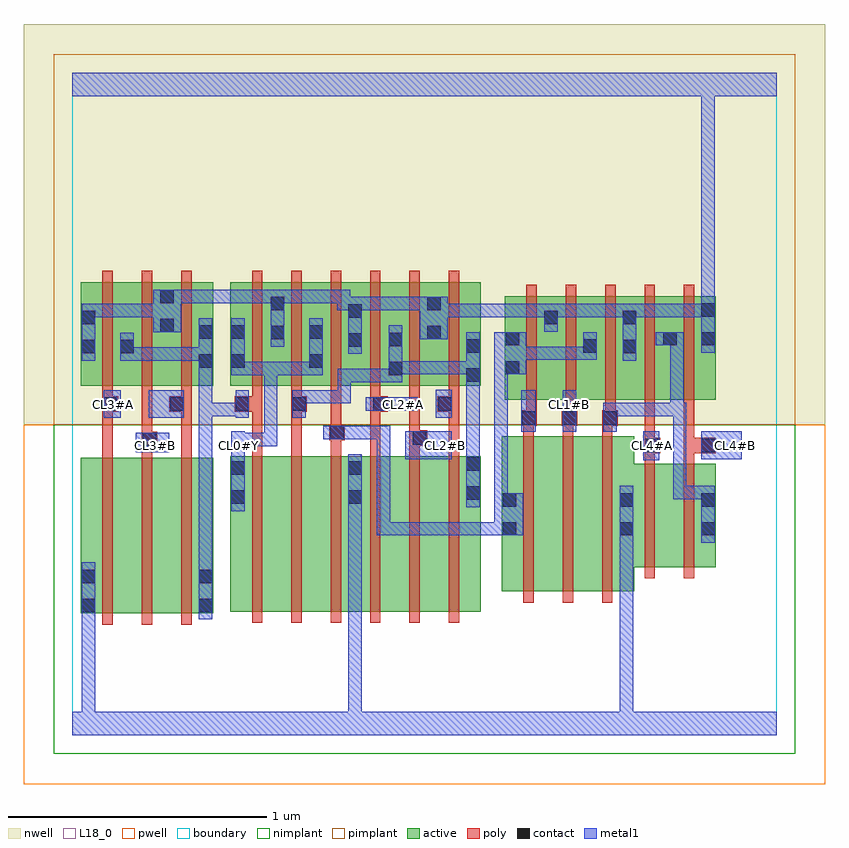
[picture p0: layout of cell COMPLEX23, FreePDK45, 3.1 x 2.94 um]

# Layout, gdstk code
import gdstk
lib = gdstk.Library(unit=1e-6, precision=1e-09)
def R(c, l, rs):  # rectangles x0, y0, x1, y1
    for r in rs: c.add(gdstk.rectangle(r[:2], r[2:], *l))
def A(c, l, x, y, w, h, nx, ny, dx, dy):  # array of equal rectangles
    R(c, l, [(x+i*dx, y+j*dy, x+i*dx+w, y+j*dy+h) for i in range(nx) for j in range(ny)])
active = (1, 0)
pwell = (2, 0)
nwell = (3, 0)
nimplant = (4, 0)
pimplant = (5, 0)
poly = (9, 0)
contact = (10, 0)
metal1 = (11, 0)
L18_0 = (18, 0)
boundary = (235, 0)

complex23 = lib.new_cell('COMPLEX23')
R(complex23, active, [(0.032,0.472,0.212,1.072), (0.032,0.472,0.092,1.072), (0.212,0.472,0.364,1.072), (0.364,0.472,0.544,1.072), (0.484,0.472,0.544,1.072), (0.61,0.478,0.79,1.078), (0.79,0.478,0.942,1.078), (0.942,0.478,1.122,1.078), (1.062,0.478,1.246,1.078), (1.246,0.478,1.398,1.078), (1.398,0.478,1.578,1.078), (0.61,0.556,0.67,1.078), (1.062,0.556,1.122,1.078), (1.518,0.556,1.578,1.078), (1.658,0.556,1.838,1.156), (1.658,0.556,1.718,1.156), (1.838,0.556,1.99,1.156), (1.99,0.556,2.17,1.156), (2.11,0.65,2.306,1.05), (2.306,0.65,2.486,1.05), (2.11,0.756,2.17,1.05), (2.426,0.756,2.486,1.05), (1.67,1.296,1.878,1.696), (1.67,1.296,1.73,1.644), (1.818,1.296,2.03,1.696), (1.97,1.296,2.182,1.696), (2.122,1.296,2.338,1.696), (2.278,1.296,2.486,1.696), (2.426,1.296,2.486,1.696), (0.032,1.35,0.092,1.75), (0.032,1.35,0.24,1.75), (0.18,1.35,0.24,1.644), (0.18,1.35,0.396,1.75), (0.336,1.35,0.544,1.75), (0.484,1.35,0.544,1.644), (0.61,1.35,0.67,1.644), (0.61,1.35,0.822,1.75), (0.762,1.35,0.822,1.75), (0.762,1.35,0.97,1.75), (0.91,1.35,0.97,1.644), (0.91,1.35,1.122,1.75), (1.062,1.35,1.122,1.75), (1.062,1.35,1.278,1.75), (1.218,1.35,1.278,1.644), (1.218,1.35,1.426,1.75), (1.366,1.35,1.426,1.75), (1.366,1.35,1.578,1.75), (1.518,1.35,1.578,1.644), (0.336,1.472,0.396,1.75), (2.122,1.472,2.182,1.644), (1.97,1.474,2.03,1.644), (2.278,1.502,2.338,1.644), (1.818,1.584,1.878,1.644)])
R(complex23, pwell, [(-0.188,-0.188,2.908,1.2)])
R(complex23, nwell, [(-0.188,1.2,2.908,2.748)])
R(complex23, nimplant, [(-0.072,-0.072,2.792,1.2)])
R(complex23, pimplant, [(-0.072,1.2,2.792,2.632)])
A(complex23, poly, 0.116, 0.428, 0.04, 0.688, 3, 1, 0.152, 0)
A(complex23, poly, 0.694, 0.434, 0.04, 0.688, 6, 1, 0.152, 0)
A(complex23, poly, 1.742, 0.512, 0.04, 0.688, 3, 1, 0.152, 0)
A(complex23, poly, 0.846, 1.082, 0.04, 0.208, 3, 1, 0.304, 0)
A(complex23, poly, 1.742, 1.16, 0.04, 0.076, 3, 1, 0.152, 0)
A(complex23, poly, 1.734, 1.196, 0.06, 0.06, 3, 1, 0.156, 0)
A(complex23, poly, 1.754, 1.216, 0.04, 0.076, 3, 1, 0.152, 0)
A(complex23, poly, 1.754, 1.252, 0.04, 0.488, 5, 1, 0.152, 0)
A(complex23, poly, 0.846, 1.27, 0.04, 0.076, 3, 1, 0.304, 0)
A(complex23, poly, 0.116, 1.306, 0.04, 0.488, 3, 1, 0.152, 0)
A(complex23, poly, 0.694, 1.306, 0.04, 0.488, 6, 1, 0.152, 0)
R(complex23, poly, [(2.21,0.606,2.25,1.094), (2.362,0.606,2.402,1.094), (2.21,1.054,2.25,1.13), (2.362,1.054,2.402,1.13), (0.116,1.076,0.156,1.29), (0.268,1.076,0.308,1.152), (0.42,1.076,0.46,1.29), (0.694,1.082,0.734,1.29), (0.998,1.082,1.038,1.18), (1.302,1.082,1.342,1.158), (2.21,1.09,2.27,1.15), (2.362,1.09,2.486,1.15), (2.21,1.11,2.25,1.292), (2.21,1.11,2.25,1.15), (2.21,1.11,2.25,1.15), (2.362,1.11,2.402,1.292), (2.362,1.11,2.402,1.15), (2.362,1.11,2.402,1.15), (0.268,1.112,0.328,1.172), (1.302,1.118,1.37,1.178), (0.268,1.132,0.308,1.172), (0.268,1.132,0.308,1.172), (0.268,1.132,0.308,1.346), (1.302,1.138,1.342,1.178), (1.302,1.138,1.342,1.178), (1.302,1.138,1.342,1.346), (0.992,1.14,1.052,1.2), (0.998,1.16,1.038,1.2), (0.998,1.16,1.038,1.2), (0.998,1.16,1.038,1.346), (1.742,1.196,1.782,1.236), (1.742,1.196,1.782,1.236), (2.046,1.196,2.086,1.236), (2.046,1.196,2.086,1.236), (1.906,1.216,1.946,1.256), (1.906,1.216,1.946,1.256), (0.116,1.25,0.176,1.31), (0.374,1.25,0.46,1.31), (0.42,1.25,0.46,1.29), (0.42,1.25,0.46,1.29), (0.626,1.25,0.734,1.31), (0.694,1.25,0.734,1.29), (0.694,1.25,0.734,1.29), (0.846,1.25,0.886,1.29), (0.846,1.25,0.886,1.29), (0.846,1.25,0.906,1.31), (1.15,1.25,1.19,1.29), (1.15,1.25,1.19,1.29), (1.15,1.25,1.218,1.31), (1.41,1.25,1.494,1.31), (1.454,1.25,1.494,1.29), (1.454,1.25,1.494,1.29), (0.116,1.27,0.156,1.31), (0.116,1.27,0.156,1.31), (0.116,1.27,0.156,1.346), (0.42,1.27,0.46,1.346), (0.694,1.27,0.734,1.346)])
A(complex23, contact, 1.738, 1.2, 0.052, 0.052, 3, 1, 0.156, 0)
R(complex23, contact, [(0.036,0.476,0.088,0.528), (0.488,0.476,0.54,0.528), (0.036,0.588,0.088,0.64), (0.488,0.588,0.54,0.64), (1.662,0.772,1.714,0.824), (2.114,0.772,2.166,0.824), (2.43,0.772,2.482,0.824), (1.662,0.884,1.714,0.936), (2.114,0.884,2.166,0.936), (2.43,0.884,2.482,0.936), (0.614,0.894,0.666,0.946), (1.066,0.894,1.118,0.946), (1.522,0.91,1.574,0.962), (0.614,1.006,0.666,1.058), (1.066,1.006,1.118,1.058), (1.522,1.022,1.574,1.074), (2.214,1.094,2.266,1.146), (2.43,1.094,2.482,1.146), (0.272,1.116,0.324,1.168), (1.314,1.122,1.366,1.174), (0.996,1.144,1.048,1.196), (0.12,1.254,0.172,1.306), (0.378,1.254,0.43,1.306), (0.63,1.254,0.682,1.306), (0.85,1.254,0.902,1.306), (1.162,1.254,1.214,1.306), (1.414,1.254,1.466,1.306), (1.522,1.366,1.574,1.418), (1.222,1.392,1.274,1.444), (1.674,1.394,1.726,1.446), (0.488,1.42,0.54,1.472), (0.614,1.42,0.666,1.472), (0.914,1.42,0.966,1.472), (0.036,1.476,0.088,1.528), (0.184,1.476,0.236,1.528), (2.126,1.476,2.178,1.528), (1.522,1.478,1.574,1.53), (1.974,1.478,2.026,1.53), (1.066,1.502,1.118,1.554), (1.222,1.504,1.274,1.556), (1.674,1.506,1.726,1.558), (2.282,1.506,2.334,1.558), (2.43,1.506,2.482,1.558), (0.766,1.53,0.818,1.582), (1.37,1.53,1.422,1.582), (0.488,1.532,0.54,1.584), (0.614,1.532,0.666,1.584), (0.914,1.532,0.966,1.584), (0.34,1.558,0.392,1.61), (0.036,1.588,0.088,1.64), (1.822,1.588,1.874,1.64), (2.126,1.588,2.178,1.64), (1.066,1.614,1.118,1.666), (2.43,1.618,2.482,1.67), (0.766,1.642,0.818,1.694), (1.37,1.642,1.422,1.694), (0.34,1.67,0.392,1.722)])
R(complex23, metal1, [(0,0,2.72,0.092), (0.036,0.04,0.088,0.092), (0.036,0.04,0.088,0.092), (0.036,0.04,0.088,0.092), (0.036,0.04,0.088,0.092), (0.036,0.04,0.088,0.092), (0.036,0.04,0.088,0.092), (0.036,0.04,0.088,0.5), (1.066,0.04,1.118,0.092), (1.066,0.04,1.118,0.092), (1.066,0.04,1.118,0.918), (2.114,0.04,2.166,0.092), (2.114,0.04,2.166,0.092), (2.114,0.04,2.166,0.092), (2.114,0.04,2.166,0.092), (2.114,0.04,2.166,0.092), (2.114,0.04,2.166,0.092), (2.114,0.04,2.166,0.796), (0.036,0.448,0.088,0.5), (0.036,0.448,0.088,0.5), (0.036,0.448,0.088,0.668), (0.488,0.448,0.54,0.668), (0.488,0.616,0.54,0.668), (0.488,0.616,0.54,0.668), (0.488,0.616,0.54,1.284), (2.114,0.744,2.166,0.796), (2.114,0.744,2.166,0.796), (2.114,0.744,2.166,0.964), (2.43,0.744,2.482,0.964), (1.176,0.772,1.228,0.824), (1.176,0.772,1.338,0.824), (1.176,0.772,1.228,1.196), (1.286,0.772,1.338,0.824), (1.286,0.772,1.464,0.824), (1.412,0.772,1.464,0.824), (1.412,0.772,1.464,0.824), (1.412,0.772,1.464,0.824), (1.412,0.772,1.464,0.824), (1.412,0.772,1.464,0.824), (1.412,0.772,1.576,0.824), (1.524,0.772,1.576,0.824), (1.524,0.772,1.682,0.824), (1.63,0.772,1.742,0.936), (0.614,0.866,0.666,1.086), (1.066,0.866,1.118,0.918), (1.066,0.866,1.118,0.918), (1.066,0.866,1.118,0.918), (1.066,0.866,1.118,0.918), (1.066,0.866,1.118,0.918), (1.066,0.866,1.118,0.918), (1.066,0.866,1.118,1.086), (1.522,0.882,1.574,1.102), (1.63,0.884,1.682,1.446), (2.32,0.912,2.372,0.964), (2.32,0.912,2.372,0.964), (2.32,0.912,2.372,0.964), (2.32,0.912,2.482,0.964), (2.32,0.912,2.372,1.284), (2.43,0.912,2.482,0.964), (2.43,0.912,2.482,0.964), (0.614,1.034,0.666,1.118), (1.522,1.05,1.574,1.102), (1.522,1.05,1.574,1.102), (1.522,1.05,1.574,1.102), (1.522,1.05,1.574,1.102), (1.522,1.05,1.574,1.39), (2.206,1.062,2.266,1.174), (0.614,1.066,0.666,1.174), (1.286,1.066,1.466,1.174), (2.43,1.066,2.586,1.174), (0.244,1.094,0.374,1.168), (0.614,1.116,0.666,1.168), (0.614,1.116,0.666,1.168), (0.614,1.116,0.792,1.168), (0.74,1.116,0.792,1.168), (0.74,1.116,0.792,1.168), (0.74,1.116,0.792,1.168), (0.74,1.116,0.792,1.444), (0.968,1.144,1.076,1.196), (1.024,1.144,1.076,1.196), (1.024,1.144,1.076,1.196), (1.024,1.144,1.228,1.196), (1.176,1.144,1.228,1.196), (1.176,1.144,1.228,1.196), (1.176,1.144,1.228,1.196), (1.734,1.172,1.79,1.334), (1.894,1.172,1.946,1.334), (2.05,1.172,2.102,1.28), (0.12,1.226,0.186,1.334), (0.294,1.226,0.43,1.334), (0.63,1.226,0.682,1.334), (0.85,1.226,0.902,1.334), (1.404,1.226,1.466,1.336), (2.05,1.228,2.102,1.28), (2.05,1.228,2.102,1.284), (0.488,1.232,0.54,1.284), (0.488,1.232,0.54,1.284), (0.488,1.232,0.54,1.284), (0.488,1.232,0.682,1.284), (0.488,1.232,0.54,1.444), (2.05,1.232,2.362,1.284), (2.31,1.232,2.362,1.284), (2.31,1.232,2.362,1.284), (2.31,1.232,2.362,1.558), (2.31,1.232,2.372,1.284), (1.134,1.254,1.334,1.306), (0.85,1.282,0.966,1.334), (0.914,1.282,0.966,1.334), (0.914,1.282,1.076,1.334), (1.024,1.282,1.076,1.334), (1.024,1.282,1.076,1.334), (1.024,1.282,1.076,1.334), (1.024,1.282,1.076,1.416), (1.522,1.338,1.574,1.558), (1.024,1.364,1.076,1.416), (1.024,1.364,1.186,1.416), (1.134,1.364,1.186,1.416), (1.134,1.364,1.274,1.416), (1.222,1.364,1.274,1.584), (0.488,1.392,0.54,1.612), (0.614,1.392,0.666,1.444), (0.614,1.392,0.666,1.444), (0.614,1.392,0.666,1.612), (0.614,1.392,0.792,1.444), (0.74,1.392,0.792,1.444), (0.74,1.392,0.792,1.444), (0.74,1.392,0.792,1.444), (0.74,1.392,0.966,1.444), (0.914,1.392,0.966,1.612), (1.222,1.394,1.338,1.446), (1.286,1.394,1.338,1.446), (1.286,1.394,1.464,1.446), (1.412,1.394,1.464,1.446), (1.412,1.394,1.464,1.446), (1.412,1.394,1.464,1.446), (1.412,1.394,1.574,1.446), (1.63,1.394,1.682,1.446), (1.63,1.394,1.682,1.446), (1.63,1.394,1.682,1.446), (1.63,1.394,1.682,1.446), (1.63,1.394,1.682,1.446), (1.63,1.394,1.682,1.446), (1.63,1.394,1.754,1.558), (0.036,1.448,0.088,1.668), (0.184,1.448,0.236,1.5), (0.184,1.448,0.236,1.5), (0.184,1.448,0.43,1.5), (0.184,1.448,0.236,1.556), (0.378,1.448,0.43,1.5), (0.378,1.448,0.43,1.5), (0.378,1.448,0.43,1.5), (0.378,1.448,0.54,1.5), (2.126,1.448,2.178,1.668), (1.702,1.45,1.754,1.502), (1.702,1.45,1.754,1.502), (1.702,1.45,1.864,1.502), (1.812,1.45,1.864,1.502), (1.812,1.45,1.864,1.502), (1.812,1.45,1.864,1.502), (1.812,1.45,2.026,1.502), (1.974,1.45,2.026,1.558), (1.066,1.474,1.118,1.694), (2.43,1.478,2.482,1.698), (0.766,1.502,0.818,1.722), (2.254,1.506,2.362,1.558), (1.342,1.53,1.45,1.694), (0.312,1.558,0.42,1.722), (1.822,1.56,1.874,1.668), (0.036,1.616,0.088,1.668), (0.036,1.616,0.088,1.668), (0.036,1.616,0.198,1.668), (0.146,1.616,0.198,1.668), (0.146,1.616,0.198,1.668), (0.146,1.616,0.198,1.668), (0.146,1.616,0.364,1.668), (1.398,1.616,1.45,1.668), (1.398,1.616,1.45,1.668), (1.398,1.616,1.644,1.668), (1.592,1.616,1.644,1.668), (1.592,1.616,1.644,1.668), (1.592,1.616,1.644,1.668), (1.592,1.616,1.754,1.668), (1.702,1.616,1.754,1.668), (1.702,1.616,1.874,1.668), (1.822,1.616,1.874,1.668), (1.822,1.616,1.874,1.668), (1.822,1.616,1.992,1.668), (1.94,1.616,1.992,1.668), (1.94,1.616,1.992,1.668), (1.94,1.616,1.992,1.668), (1.94,1.616,2.178,1.668), (2.126,1.616,2.372,1.668), (2.32,1.616,2.372,1.668), (2.32,1.616,2.372,1.668), (2.32,1.616,2.372,1.668), (2.32,1.616,2.482,1.668), (2.43,1.616,2.482,1.668), (2.43,1.616,2.482,1.668), (1.022,1.642,1.118,1.694), (1.022,1.642,1.074,1.722), (1.066,1.642,1.228,1.694), (1.176,1.642,1.228,1.694), (1.176,1.642,1.228,1.694), (1.176,1.642,1.228,1.694), (1.176,1.642,1.338,1.694), (1.286,1.642,1.338,1.694), (1.286,1.642,1.394,1.694), (2.43,1.646,2.482,1.698), (2.43,1.646,2.482,1.698), (2.43,1.646,2.482,1.698), (2.43,1.646,2.482,1.698), (2.43,1.646,2.482,1.698), (2.43,1.646,2.482,1.698), (2.43,1.646,2.482,1.698), (2.43,1.646,2.482,1.698), (2.43,1.646,2.482,1.698), (2.43,1.646,2.482,1.698), (2.43,1.646,2.482,1.698), (2.43,1.646,2.482,1.698), (2.43,1.646,2.482,1.698), (2.43,1.646,2.482,1.698), (2.43,1.646,2.482,1.698), (2.43,1.646,2.482,1.698), (2.43,1.646,2.482,2.52), (0.368,1.67,0.42,1.722), (0.368,1.67,0.42,1.722), (0.368,1.67,0.54,1.722), (0.488,1.67,0.54,1.722), (0.488,1.67,0.65,1.722), (0.598,1.67,0.65,1.722), (0.598,1.67,0.65,1.722), (0.598,1.67,0.65,1.722), (0.598,1.67,0.818,1.722), (0.766,1.67,0.818,1.722), (0.766,1.67,0.818,1.722), (0.766,1.67,0.966,1.722), (0.914,1.67,0.966,1.722), (0.914,1.67,1.074,1.722), (0,2.468,2.72,2.56)])
A(complex23, L18_0, 0.614, 1.094, 0.052, 0.052, 3, 1, 0.8, 0)
R(complex23, L18_0, [(0,0,2.72,0.092), (0.036,0.04,0.088,0.092), (0.036,0.04,0.088,0.092), (0.036,0.04,0.088,0.092), (0.036,0.04,0.088,0.092), (0.036,0.04,0.088,0.092), (0.036,0.04,0.088,0.092), (0.036,0.04,0.088,0.5), (1.066,0.04,1.118,0.092), (1.066,0.04,1.118,0.092), (1.066,0.04,1.118,0.918), (2.114,0.04,2.166,0.092), (2.114,0.04,2.166,0.092), (2.114,0.04,2.166,0.092), (2.114,0.04,2.166,0.092), (2.114,0.04,2.166,0.092), (2.114,0.04,2.166,0.092), (2.114,0.04,2.166,0.796), (0.036,0.448,0.088,0.5), (0.036,0.448,0.088,0.5), (0.036,0.448,0.088,0.668), (2.114,0.744,2.166,0.796), (2.114,0.744,2.166,0.796), (2.114,0.744,2.166,0.964), (0.614,0.866,0.666,1.086), (1.066,0.866,1.118,0.918), (1.066,0.866,1.118,0.918), (1.066,0.866,1.118,0.918), (1.066,0.866,1.118,0.918), (1.066,0.866,1.118,0.918), (1.066,0.866,1.118,0.918), (1.066,0.866,1.118,1.086), (0.614,1.034,0.666,1.118), (2.206,1.062,2.266,1.174), (0.614,1.066,0.666,1.174), (1.286,1.066,1.466,1.174), (2.43,1.066,2.586,1.174), (0.244,1.094,0.374,1.168), (0.294,1.094,0.346,1.146), (2.534,1.094,2.586,1.146), (0.614,1.116,0.666,1.168), (0.614,1.116,0.666,1.168), (0.614,1.116,0.792,1.168), (0.74,1.116,0.792,1.168), (0.74,1.116,0.792,1.168), (0.74,1.116,0.792,1.168), (0.74,1.116,0.792,1.444), (1.734,1.172,1.79,1.334), (1.894,1.172,1.946,1.334), (0.12,1.226,0.186,1.334), (0.294,1.226,0.43,1.334), (1.404,1.226,1.466,1.336), (0.134,1.254,0.186,1.306), (0.294,1.254,0.346,1.306), (1.134,1.254,1.334,1.306), (1.254,1.254,1.306,1.306), (1.414,1.254,1.466,1.306), (1.734,1.254,1.786,1.306), (1.894,1.254,1.946,1.306), (0.614,1.392,0.666,1.444), (0.614,1.392,0.666,1.444), (0.614,1.392,0.666,1.612), (0.614,1.392,0.792,1.444), (0.74,1.392,0.792,1.444), (0.74,1.392,0.792,1.444), (0.74,1.392,0.792,1.444), (0.74,1.392,0.966,1.444), (0.914,1.392,0.966,1.612), (0.036,1.448,0.088,1.668), (2.126,1.448,2.178,1.668), (1.066,1.474,1.118,1.694), (2.43,1.478,2.482,1.698), (0.766,1.502,0.818,1.722), (1.342,1.53,1.45,1.694), (0.312,1.558,0.42,1.722), (1.822,1.56,1.874,1.668), (0.036,1.616,0.088,1.668), (0.036,1.616,0.088,1.668), (0.036,1.616,0.198,1.668), (0.146,1.616,0.198,1.668), (0.146,1.616,0.198,1.668), (0.146,1.616,0.198,1.668), (0.146,1.616,0.364,1.668), (1.398,1.616,1.45,1.668), (1.398,1.616,1.45,1.668), (1.398,1.616,1.644,1.668), (1.592,1.616,1.644,1.668), (1.592,1.616,1.644,1.668), (1.592,1.616,1.644,1.668), (1.592,1.616,1.754,1.668), (1.702,1.616,1.754,1.668), (1.702,1.616,1.874,1.668), (1.822,1.616,1.874,1.668), (1.822,1.616,1.874,1.668), (1.822,1.616,1.992,1.668), (1.94,1.616,1.992,1.668), (1.94,1.616,1.992,1.668), (1.94,1.616,1.992,1.668), (1.94,1.616,2.178,1.668), (2.126,1.616,2.372,1.668), (2.32,1.616,2.372,1.668), (2.32,1.616,2.372,1.668), (2.32,1.616,2.372,1.668), (2.32,1.616,2.482,1.668), (2.43,1.616,2.482,1.668), (2.43,1.616,2.482,1.668), (1.022,1.642,1.074,1.722), (1.022,1.642,1.118,1.694), (1.066,1.642,1.228,1.694), (1.176,1.642,1.228,1.694), (1.176,1.642,1.228,1.694), (1.176,1.642,1.228,1.694), (1.176,1.642,1.338,1.694), (1.286,1.642,1.338,1.694), (1.286,1.642,1.394,1.694), (2.43,1.646,2.482,1.698), (2.43,1.646,2.482,1.698), (2.43,1.646,2.482,1.698), (2.43,1.646,2.482,1.698), (2.43,1.646,2.482,1.698), (2.43,1.646,2.482,1.698), (2.43,1.646,2.482,1.698), (2.43,1.646,2.482,1.698), (2.43,1.646,2.482,1.698), (2.43,1.646,2.482,1.698), (2.43,1.646,2.482,1.698), (2.43,1.646,2.482,1.698), (2.43,1.646,2.482,1.698), (2.43,1.646,2.482,1.698), (2.43,1.646,2.482,1.698), (2.43,1.646,2.482,1.698), (2.43,1.646,2.482,2.52), (0.368,1.67,0.42,1.722), (0.368,1.67,0.42,1.722), (0.368,1.67,0.54,1.722), (0.488,1.67,0.54,1.722), (0.488,1.67,0.65,1.722), (0.598,1.67,0.65,1.722), (0.598,1.67,0.65,1.722), (0.598,1.67,0.65,1.722), (0.598,1.67,0.818,1.722), (0.766,1.67,0.818,1.722), (0.766,1.67,0.818,1.722), (0.766,1.67,0.966,1.722), (0.914,1.67,0.966,1.722), (0.914,1.67,1.074,1.722), (0,2.468,2.72,2.56)])
R(complex23, boundary, [(0,0,2.72,2.56)])
complex23.add(gdstk.Label('CL0#Y', (0.64,1.12), layer=11, texttype=0))
complex23.add(gdstk.Label('CL1#B', (1.92,1.28), layer=11, texttype=0))
complex23.add(gdstk.Label('CL1#C', (1.76,1.28), layer=11, texttype=0))
complex23.add(gdstk.Label('CL2#A', (1.28,1.28), layer=11, texttype=0))
complex23.add(gdstk.Label('CL2#B', (1.44,1.12), layer=11, texttype=0))
complex23.add(gdstk.Label('CL2#C', (1.44,1.28), layer=11, texttype=0))
complex23.add(gdstk.Label('CL3#A', (0.16,1.28), layer=11, texttype=0))
complex23.add(gdstk.Label('CL3#B', (0.32,1.12), layer=11, texttype=0))
complex23.add(gdstk.Label('CL3#C', (0.32,1.28), layer=11, texttype=0))
complex23.add(gdstk.Label('CL4#A', (2.24,1.12), layer=11, texttype=0))
complex23.add(gdstk.Label('CL4#B', (2.56,1.12), layer=11, texttype=0))

lib.write_gds('COMPLEX23.gds')
